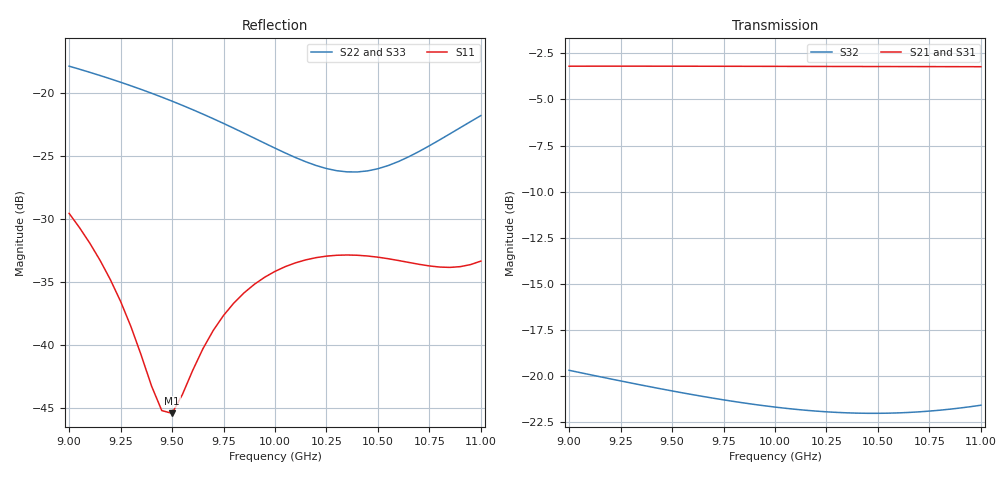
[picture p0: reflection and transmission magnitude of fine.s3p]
! yapnr rf: wilkinson-x10, footprint re-simulated (refine 2)
! spec sha256 873f85794a61544b0bb32f7d4ed76952a4a3fe576a48ff2aa00e031ce3428988
! 3 ports renormalized to 50 ohm, e^(+jwt) convention
# GHz S RI R 50
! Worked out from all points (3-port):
!   41 points, 9 GHz to 11 GHz, reference 50 ohm
!   strongest paths, dB at 9 GHz, 9.5 GHz, 10 GHz, 10.5 GHz, 11 GHz:
!     S21: -3.2, -3.2, -3.2, -3.2, -3.2
!     S31: -3.2, -3.2, -3.2, -3.2, -3.2
!     S32: -19.7, -20.8, -21.7, -22.0, -21.6
!   lowest |S11| = -45.4 dB at 9.5 GHz (marker M1), VSWR 1.01, Z = 49.7 - j0.467 ohm
!   |S11| at or under -10 dB: start of sweep to end of sweep
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9  0.0331 -0.00443  -0.1573 0.6785  -0.1573 0.6785
   -0.1559 0.674  0.0275 0.1254  -0.00493 -0.1036
   -0.1559 0.674  -0.00493 -0.1036  0.0275 0.1254
9.25  0.0131 -0.00709  -0.0633 0.6938  -0.0633 0.6938
      -0.0624 0.6892  0.0395 0.1035  -0.0329 -0.0913
      -0.0624 0.6892  -0.0329 -0.0913  0.0395 0.1035
9.45  0.000158 -0.0055  0.0129 0.6966  0.0129 0.6966
      0.0133 0.6918  0.0469 0.0846  -0.0516 -0.0765
      0.0133 0.6918  -0.0516 -0.0765  0.0469 0.0846
9.5  -0.0026 -0.0047  0.0319 0.6959  0.0319 0.6959
     0.0322 0.6911  0.0484 0.0797  -0.0557 -0.0722
     0.0322 0.6911  -0.0557 -0.0722  0.0484 0.0797
9.75  -0.0131 0.00104  0.1264 0.6849  0.1264 0.6849
      0.1262 0.68  0.0535 0.054  -0.0717 -0.0479
      0.1262 0.68  -0.0717 -0.0479  0.0535 0.054
10  -0.0178 0.00826  0.2185 0.6609  0.2185 0.6609
    0.2177 0.656  0.0544 0.0268  -0.0799 -0.0202
    0.2177 0.656  -0.0799 -0.0202  0.0544 0.0268
10.25  -0.0168 0.0151  0.3067 0.6245  0.3067 0.6245
       0.3053 0.6197  0.0503 -0.00138  -0.0796 0.00842
       0.3053 0.6197  -0.0796 0.00842  0.0503 -0.00138
10.45  -0.0122 0.0191  0.3733 0.5868  0.3733 0.5868
       0.3714 0.5821  0.043 -0.024  -0.0732 0.0305
       0.3714 0.5821  -0.0732 0.0305  0.043 -0.024
10.8  0.00273 0.0203  0.4789 0.5036  0.4789 0.5036
      0.4763 0.4993  0.0209 -0.062  -0.0498 0.0636
      0.4763 0.4993  -0.0498 0.0636  0.0209 -0.062
11  0.014 0.0165  0.5317 0.4469  0.5317 0.4469
    0.5287 0.4428  0.00276 -0.0817  -0.0307 0.0775
    0.5287 0.4428  -0.0307 0.0775  0.00276 -0.0817
